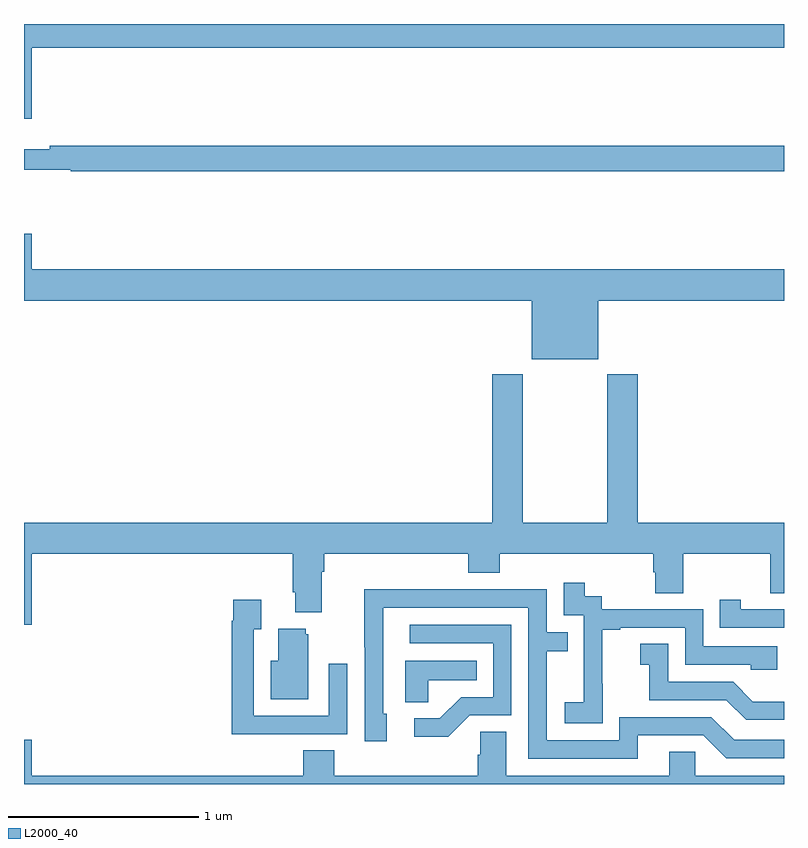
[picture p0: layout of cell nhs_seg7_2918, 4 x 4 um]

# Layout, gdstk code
import gdstk
lib = gdstk.Library(unit=1e-6, precision=1e-09)
def P(c, l, *ps):  # polygons
    for p in ps: c.add(gdstk.Polygon(p, *l))
L2000_40 = (2000, 40)

nhs_seg7_2918 = lib.new_cell('nhs_seg7_2918')
P(nhs_seg7_2918, L2000_40, [(297.04,1073.876),(301,1073.876),(301,1074),(297,1074),(297,1073.502),(297.04,1073.502)],
  [(301,1073.36),(297.136,1073.36),(297.136,1073.341),(297,1073.341),(297,1073.232),(297.245,1073.232),(297.245,1073.224),(301,1073.224)],
  [(300.022,1072.544),(301,1072.544),(301,1072.708),(297.04,1072.708),(297.04,1072.897),(297,1072.897),(297,1072.544),(299.672,1072.544),(299.672,1072.235),(300.022,1072.235)],
  [(297.04,1071.212),(298.415,1071.212),(298.415,1071.01),(298.427,1071.01),(298.427,1070.903),(298.567,1070.903),(298.567,1071.116),(298.58,1071.116),(298.58,1071.212),(299.339,1071.212),(299.339,1071.113),(299.504,1071.113),(299.504,1071.212),(300.311,1071.212),(300.311,1071.114),(300.323,1071.114),(300.323,1071.004),(300.471,1071.004),(300.471,1071.212),(300.928,1071.212),(300.928,1071.004),(301,1071.004),(301,1071.376),(300.23,1071.376),(300.23,1072.156),(300.07,1072.156),(300.07,1071.376),(299.625,1071.376),(299.625,1072.156),(299.465,1072.156),(299.465,1071.376),(297,1071.376),(297,1070.838),(297.04,1070.838)],
  [(300.045,1070.527),(300.044,1070.527),(300.044,1070.811),(300.139,1070.811),(300.139,1070.823),(300.48,1070.823),(300.48,1070.628),(300.825,1070.628),(300.825,1070.601),(300.965,1070.601),(300.965,1070.724),(300.576,1070.724),(300.576,1070.919),(300.042,1070.919),(300.042,1070.988),(299.95,1070.988),(299.95,1071.058),(299.841,1071.058),(299.841,1070.889),(299.946,1070.889),(299.946,1070.66),(299.945,1070.66),(299.945,1070.431),(299.847,1070.431),(299.847,1070.321),(300.045,1070.321)],
  [(300.229,1070.256),(300.576,1070.256),(300.696,1070.136),(301,1070.136),(301,1070.232),(300.738,1070.232),(300.618,1070.352),(300.132,1070.352),(300.132,1070.229),(299.751,1070.229),(299.751,1070.698),(299.861,1070.698),(299.861,1070.799),(299.751,1070.799),(299.751,1071.024),(299.255,1071.024),(299.255,1071.026),(298.792,1071.026),(298.792,1070.719),(298.794,1070.719),(298.794,1070.226),(298.909,1070.226),(298.909,1070.37),(298.89,1070.37),(298.89,1070.928),(299.655,1070.928),(299.655,1070.133),(300.229,1070.133)],
  [(301,1070.919),(300.772,1070.919),(300.772,1070.971),(300.661,1070.971),(300.661,1070.823),(301,1070.823)],
  [(298.385,1070.262),(298.701,1070.262),(298.701,1070.632),(298.605,1070.632),(298.605,1070.358),(298.209,1070.358),(298.209,1070.815),(298.249,1070.815),(298.249,1070.971),(298.101,1070.971),(298.101,1070.858),(298.093,1070.858),(298.093,1070.261),(298.385,1070.261)],
  [(299.346,1070.361),(299.565,1070.361),(299.565,1070.838),(299.031,1070.838),(299.031,1070.742),(299.469,1070.742),(299.469,1070.457),(299.3,1070.457),(299.189,1070.346),(299.055,1070.346),(299.055,1070.249),(299.233,1070.249)],
  [(298.495,1070.787),(298.484,1070.787),(298.484,1070.818),(298.337,1070.818),(298.337,1070.65),(298.298,1070.65),(298.298,1070.447),(298.495,1070.447)],
  [(301,1070.434),(300.836,1070.434),(300.732,1070.538),(300.39,1070.538),(300.39,1070.737),(300.243,1070.737),(300.243,1070.627),(300.292,1070.627),(300.292,1070.442),(300.695,1070.442),(300.8,1070.337),(301,1070.337)],
  [(299.127,1070.546),(299.384,1070.546),(299.384,1070.65),(299.006,1070.65),(299.006,1070.431),(299.127,1070.431)],
  [(301,1070.044),(300.534,1070.044),(300.534,1070.171),(300.395,1070.171),(300.395,1070.044),(299.539,1070.044),(299.539,1070.276),(299.4,1070.276),(299.4,1070.153),(299.387,1070.153),(299.387,1070.044),(298.634,1070.044),(298.634,1070.177),(298.469,1070.177),(298.469,1070.044),(297.04,1070.044),(297.04,1070.233),(297,1070.233),(297,1070),(301,1070)])

lib.write_gds('nhs_seg7_2918.gds')
